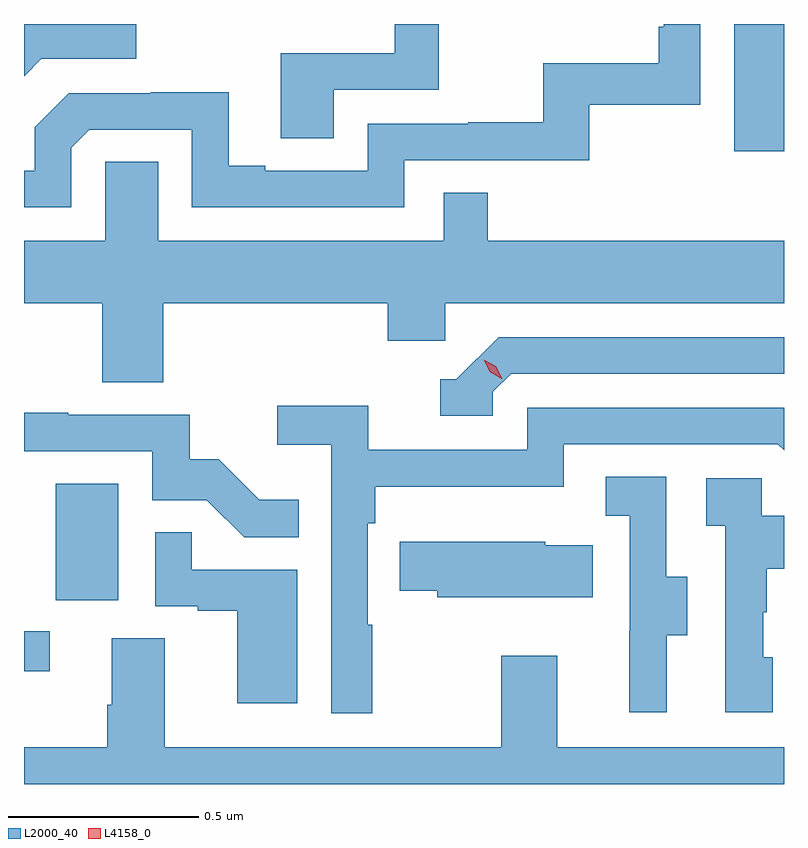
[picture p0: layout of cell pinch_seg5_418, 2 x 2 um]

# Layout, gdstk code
import gdstk
lib = gdstk.Library(unit=1e-6, precision=1e-09)
def R(c, l, rs):  # rectangles x0, y0, x1, y1
    for r in rs: c.add(gdstk.rectangle(r[:2], r[2:], *l))
def P(c, l, *ps):  # polygons
    for p in ps: c.add(gdstk.Polygon(p, *l))
L2000_40 = (2000, 40)
L4158_0 = (4158, 0)

pinch_seg5_418 = lib.new_cell('pinch_seg5_418')
R(pinch_seg5_418, L2000_40, [(1001.51,857.124,1001.578,857.229), (1001.594,857.31,1001.758,857.617), (1003.379,858.492,1003.51,858.827)])
P(pinch_seg5_418, L2000_40, [(1001.634,858.501),(1001.682,858.549),(1001.952,858.549),(1001.952,858.345),(1002.51,858.345),(1002.51,858.468),(1002.997,858.468),(1002.997,858.615),(1003.29,858.615),(1003.29,858.827),(1003.194,858.827),(1003.194,858.82),(1003.181,858.82),(1003.181,858.724),(1002.876,858.724),(1002.876,858.569),(1002.679,858.569),(1002.679,858.564),(1002.414,858.564),(1002.414,858.441),(1002.145,858.441),(1002.145,858.454),(1002.049,858.454),(1002.049,858.647),(1001.844,858.647),(1001.844,858.645),(1001.628,858.645),(1001.538,858.555),(1001.538,858.441),(1001.51,858.441),(1001.51,858.345),(1001.634,858.345)],
  [(1001.556,858.735),(1001.806,858.735),(1001.806,858.827),(1001.51,858.827),(1001.51,858.689)],
  [(1002.325,858.654),(1002.602,858.654),(1002.602,858.827),(1002.486,858.827),(1002.486,858.75),(1002.185,858.75),(1002.185,858.526),(1002.325,858.526)],
  [(1001.876,858.092),(1002.467,858.092),(1002.467,857.994),(1002.618,857.994),(1002.618,858.092),(1003.51,858.092),(1003.51,858.256),(1002.731,858.256),(1002.731,858.383),(1002.615,858.383),(1002.615,858.256),(1001.863,858.256),(1001.863,858.464),(1001.724,858.464),(1001.724,858.256),(1001.51,858.256),(1001.51,858.092),(1001.716,858.092),(1001.716,857.884),(1001.876,857.884)],
  [(1002.744,857.859),(1002.792,857.907),(1003.51,857.907),(1003.51,858.003),(1002.759,858.003),(1002.648,857.892),(1002.605,857.892),(1002.605,857.796),(1002.744,857.796)],
  [(1002.427,857.246),(1002.414,857.246),(1002.414,857.513),(1002.434,857.513),(1002.434,857.609),(1002.93,857.609),(1002.93,857.721),(1003.494,857.721),(1003.51,857.705),(1003.51,857.817),(1002.834,857.817),(1002.834,857.706),(1002.416,857.706),(1002.416,857.822),(1002.177,857.822),(1002.177,857.72),(1002.318,857.72),(1002.318,857.013),(1002.427,857.013)],
  [(1002.233,857.575),(1002.129,857.575),(1002.022,857.682),(1001.946,857.682),(1001.946,857.799),(1001.627,857.799),(1001.627,857.804),(1001.51,857.804),(1001.51,857.703),(1001.847,857.703),(1001.847,857.574),(1001.991,857.574),(1002.089,857.476),(1002.233,857.476)],
  [(1003.201,857.218),(1003.255,857.218),(1003.255,857.373),(1003.2,857.373),(1003.2,857.636),(1003.041,857.636),(1003.041,857.533),(1003.104,857.533),(1003.104,857.229),(1003.103,857.229),(1003.103,857.016),(1003.201,857.016)],
  [(1003.48,857.16),(1003.455,857.16),(1003.455,857.279),(1003.465,857.279),(1003.465,857.393),(1003.51,857.393),(1003.51,857.533),(1003.452,857.533),(1003.452,857.631),(1003.305,857.631),(1003.305,857.507),(1003.356,857.507),(1003.356,857.016),(1003.48,857.016)],
  [(1002.229,857.391),(1001.951,857.391),(1001.951,857.489),(1001.856,857.489),(1001.856,857.295),(1001.967,857.295),(1001.967,857.283),(1002.071,857.283),(1002.071,857.04),(1002.229,857.04)],
  [(1003.007,857.455),(1002.882,857.455),(1002.882,857.464),(1002.499,857.464),(1002.499,857.335),(1002.597,857.335),(1002.597,857.318),(1003.007,857.318)],
  [(1003.51,856.924),(1002.913,856.924),(1002.913,857.164),(1002.766,857.164),(1002.766,856.924),(1001.881,856.924),(1001.881,857.21),(1001.741,857.21),(1001.741,857.036),(1001.729,857.036),(1001.729,856.924),(1001.51,856.924),(1001.51,856.827),(1003.51,856.827)])
P(pinch_seg5_418, L4158_0, [(1002.767,857.893),(1002.736,857.912),(1002.72,857.944),(1002.72,857.944),(1002.72,857.944),(1002.751,857.926),(1002.768,857.893),(1002.768,857.893)])

lib.write_gds('pinch_seg5_418.gds')
